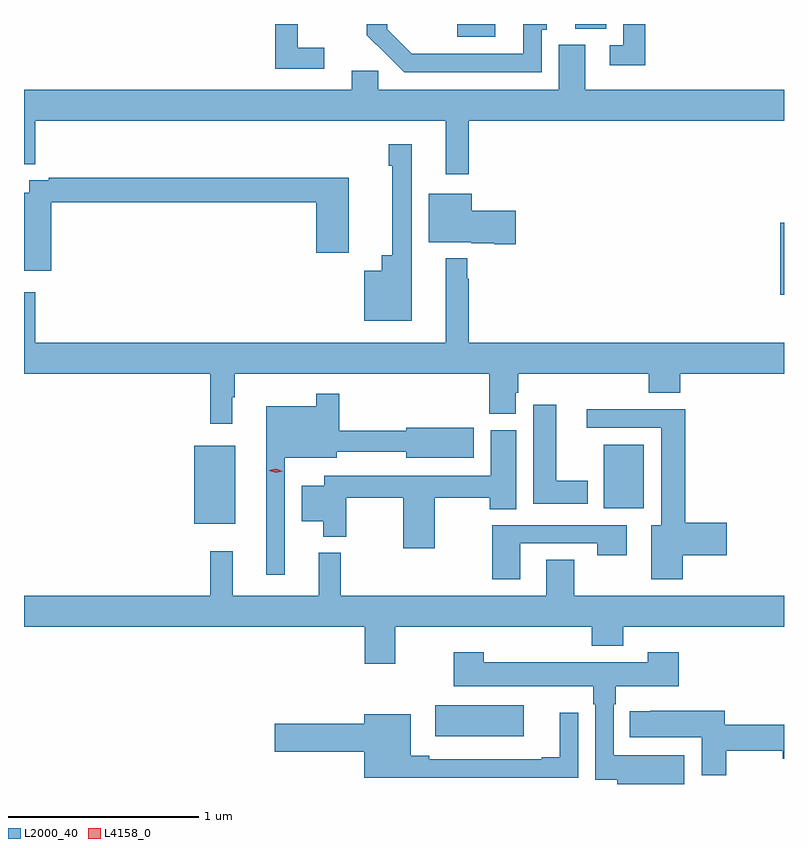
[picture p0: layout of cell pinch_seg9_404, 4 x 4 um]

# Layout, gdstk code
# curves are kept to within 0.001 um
import gdstk
lib = gdstk.Library(unit=1e-6, precision=1e-09)
def R(c, l, rs):  # rectangles x0, y0, x1, y1
    for r in rs: c.add(gdstk.rectangle(r[:2], r[2:], *l))
def P(c, l, *ps):  # polygons
    for p in ps: c.add(gdstk.Polygon(p, *l))
L2000_40 = (2000, 40)
L4158_0 = (4158, 0)

pinch_seg9_404 = lib.new_cell('pinch_seg9_404')
R(pinch_seg9_404, L2000_40, [(233.001,1218.488,233.467,1218.652), (231.734,1219.607,231.949,1220.017), (233.888,1219.688,234.1,1220.023), (234.818,1220.811,234.837,1221.192), (233.118,1222.17,233.317,1222.237), (233.738,1222.213,233.902,1222.237)])
P(pinch_seg9_404, L2000_40, [(234.107,1222.237),(233.991,1222.237),(233.991,1222.125),(233.919,1222.125),(233.919,1222.02),(234.107,1222.02)],
  [(232.417,1222.111),(232.277,1222.111),(232.277,1222.237),(232.159,1222.237),(232.159,1222.002),(232.417,1222.002)],
  [(233.562,1222.206),(233.587,1222.206),(233.587,1222.237),(233.465,1222.237),(233.465,1222.08),(232.878,1222.081),(232.749,1222.209),(232.749,1222.237),(232.641,1222.237),(232.641,1222.179),(232.838,1221.984),(233.562,1221.984)],
  [(233.179,1221.728),(234.837,1221.728),(234.837,1221.892),(233.791,1221.892),(233.791,1222.128),(233.651,1222.128),(233.651,1221.892),(232.701,1221.892),(232.701,1221.99),(232.562,1221.99),(232.562,1221.892),(230.837,1221.892),(230.837,1221.499),(230.897,1221.499),(230.897,1221.728),(233.057,1221.728),(233.057,1221.447),(233.179,1221.447)],
  [(232.879,1221.604),(232.758,1221.604),(232.758,1221.491),(232.775,1221.491),(232.775,1221.019),(232.721,1221.019),(232.721,1220.938),(232.628,1220.938),(232.628,1220.675),(232.879,1220.675)],
  [(230.98,1221.298),(232.376,1221.298),(232.376,1221.033),(232.546,1221.033),(232.546,1221.427),(230.968,1221.427),(230.968,1221.414),(230.864,1221.414),(230.864,1221.349),(230.837,1221.349),(230.837,1220.939),(230.98,1220.939)],
  [(233.425,1221.255),(233.194,1221.255),(233.194,1221.343),(232.967,1221.343),(232.967,1221.089),(233.19,1221.089),(233.19,1221.083),(233.312,1221.083),(233.312,1221.077),(233.425,1221.077)],
  [(231.934,1220.273),(231.946,1220.273),(231.946,1220.396),(233.285,1220.396),(233.285,1220.185),(233.425,1220.185),(233.425,1220.295),(233.438,1220.295),(233.438,1220.396),(234.125,1220.396),(234.125,1220.297),(234.29,1220.297),(234.29,1220.396),(234.837,1220.396),(234.837,1220.56),(233.179,1220.56),(233.179,1220.897),(233.171,1220.897),(233.171,1221.004),(233.057,1221.004),(233.057,1220.56),(230.897,1220.56),(230.897,1220.824),(230.837,1220.824),(230.837,1220.396),(231.817,1220.396),(231.817,1220.133),(231.934,1220.133)],
  [(232.209,1219.955),(232.483,1219.955),(232.483,1219.986),(232.85,1219.986),(232.85,1219.955),(233.203,1219.955),(233.203,1220.113),(232.85,1220.113),(232.85,1220.095),(232.495,1220.095),(232.495,1220.29),(232.374,1220.29),(232.374,1220.224),(232.112,1220.224),(232.112,1219.338),(232.209,1219.338)],
  [(233.803,1219.834),(233.638,1219.834),(233.638,1220.233),(233.516,1220.233),(233.516,1219.712),(233.803,1219.712)],
  [(234.304,1219.442),(234.535,1219.442),(234.535,1219.613),(234.317,1219.613),(234.317,1220.21),(233.799,1220.21),(233.799,1220.112),(234.191,1220.112),(234.191,1219.6),(234.137,1219.6),(234.137,1219.314),(234.304,1219.314)],
  [(232.998,1219.744),(233.287,1219.744),(233.287,1219.684),(233.428,1219.684),(233.428,1220.1),(233.294,1220.1),(233.294,1219.86),(232.418,1219.86),(232.418,1219.807),(232.298,1219.807),(232.298,1219.619),(232.412,1219.619),(232.412,1219.538),(232.534,1219.538),(232.534,1219.744),(232.832,1219.744),(232.832,1219.479),(232.998,1219.479)],
  [(233.449,1219.503),(233.854,1219.503),(233.854,1219.44),(234.01,1219.44),(234.01,1219.599),(233.302,1219.599),(233.302,1219.314),(233.449,1219.314)],
  [(232.791,1219.064),(233.825,1219.064),(233.825,1218.965),(233.99,1218.965),(233.99,1219.064),(234.837,1219.064),(234.837,1219.228),(233.733,1219.228),(233.733,1219.418),(233.585,1219.418),(233.585,1219.228),(232.505,1219.228),(232.505,1219.453),(232.388,1219.453),(232.388,1219.228),(231.935,1219.228),(231.935,1219.462),(231.817,1219.462),(231.817,1219.228),(230.837,1219.228),(230.837,1219.064),(232.631,1219.064),(232.631,1218.87),(232.791,1218.87)],
  [(234.313,1218.388),(233.94,1218.388),(233.94,1218.656),(233.952,1218.656),(233.952,1218.752),(234.284,1218.752),(234.284,1218.931),(234.119,1218.931),(234.119,1218.877),(233.258,1218.877),(233.258,1218.931),(233.098,1218.931),(233.098,1218.752),(233.832,1218.752),(233.832,1218.656),(233.844,1218.656),(233.844,1218.26),(233.96,1218.26),(233.96,1218.237),(234.313,1218.237)],
  [(234.534,1218.412),(234.83,1218.412),(234.83,1218.37),(234.837,1218.37),(234.837,1218.548),(234.526,1218.548),(234.526,1218.622),(234.133,1218.622),(234.133,1218.621),(234.025,1218.621),(234.025,1218.482),(234.404,1218.482),(234.404,1218.282),(234.534,1218.282)],
  [(233.754,1218.613),(233.657,1218.613),(233.657,1218.379),(233.561,1218.379),(233.561,1218.366),(232.969,1218.366),(232.969,1218.386),(232.873,1218.386),(232.873,1218.604),(232.628,1218.604),(232.628,1218.554),(232.158,1218.554),(232.158,1218.407),(232.628,1218.407),(232.628,1218.27),(233.754,1218.27)])
P(pinch_seg9_404, L4158_0, [(232.162,1219.876),(232.127,1219.887),(232.127,1219.887),(232.127,1219.888),(232.163,1219.896),(232.198,1219.884),(232.199,1219.884),(232.198,1219.884)])

lib.write_gds('pinch_seg9_404.gds')
